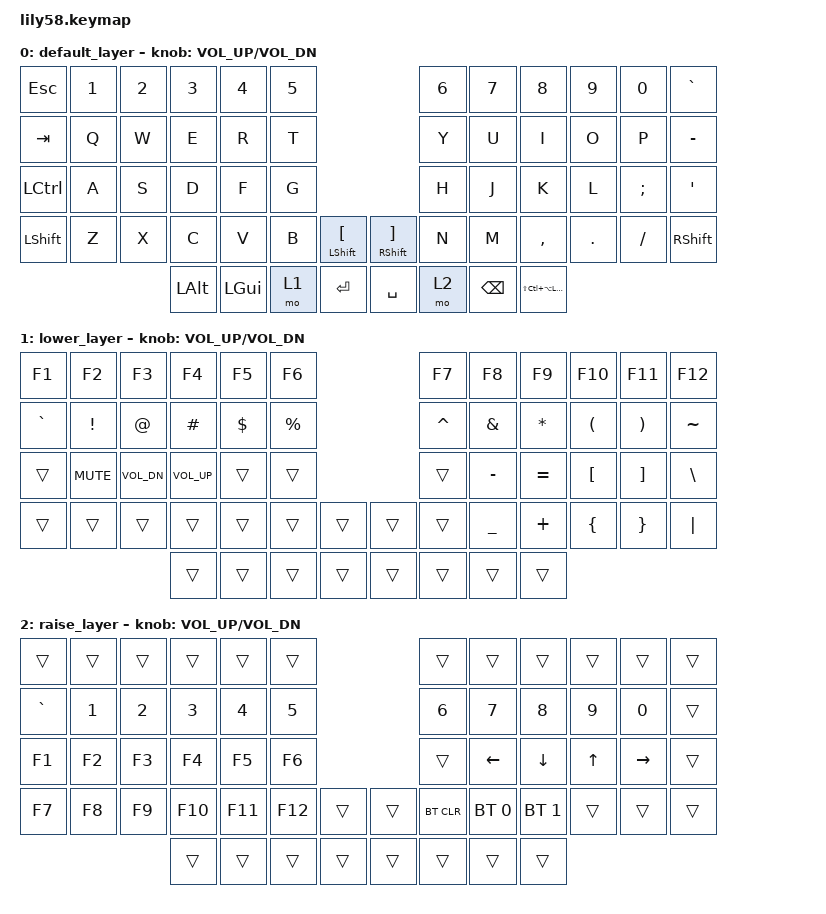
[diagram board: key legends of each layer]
/*
 * Copyright (c) 2020 The ZMK Contributors
 *
 * SPDX-License-Identifier: MIT
 */

#include <behaviors.dtsi>
#include <dt-bindings/zmk/keys.h>
#include <dt-bindings/zmk/bt.h>
#include <dt-bindings/zmk/ext_power.h>

/ {
    keymap {
        compatible = "zmk,keymap";

        default_layer {
// ------------------------------------------------------------------------------------------------------------
// |  ESC  |  1  |  2  |  3   |  4   |  5   |                   |  6   |  7    |  8    |  9   |   0   |   `   |
// |  TAB  |  Q  |  W  |  E   |  R   |  T   |                   |  Y   |  U    |  I    |  O   |   P   |   -   |
// | CTRL  |  A  |  S  |  D   |  F   |  G   |                   |  H   |  J    |  K    |  L   |   ;   |  '    |
// | SHIFT |  Z  |  X  |  C   |  V   |  B   |   "["  |  |  "]"  |  N   |  M    |  ,    |  .   |   /   | SHIFT |
//                     | ALT  | LGUI |LOWER |  ENTER |  | SPACE | RAISE| BSPC  | META  |
            bindings = <
&kp ESC   &kp N1 &kp N2 &kp N3   &kp N4   &kp N5                     &kp N6 &kp N7   &kp N8    &kp N9  &kp N0   &kp GRAVE
&kp TAB   &kp Q  &kp W  &kp E    &kp R    &kp T                      &kp Y  &kp U    &kp I     &kp O   &kp P    &kp MINUS
&kp LCTRL &kp A  &kp S  &kp D    &kp F    &kp G                      &kp H  &kp J    &kp K     &kp L   &kp SEMI &kp SQT
&kp LSHIFT &kp Z  &kp X  &kp C    &kp V    &kp B &mt LSHFT LBKT &mt RSHIFT RBKT &kp N  &kp M    &kp COMMA &kp DOT &kp FSLH &kp RSHFT
                        &kp LALT &kp LGUI &mo 1  &kp RET  &kp SPACE  &mo 2  &kp BSPC &kp LS(LC(LA(LGUI)))
            >;

            sensor-bindings = <&inc_dec_kp C_VOL_UP C_VOL_DN>;
        };

        lower_layer {
// ------------------------------------------------------------------------------------------------------------
// |  F1   |  F2 |  F3 |  F4  |  F5  |  F6  |                   |  F7  |  F8   |  F9   |  F10 |  F11  |  F12  |
// |   `   |  !  |  @  |  #   |  $   |  %   |                   |  ^   |  &    |  *    |  (   |   )   |   ~   |
// |       |  V0 |  V- |  V+  |      |      |                   |      |  -    |  =    |  [   |   ]   |   \   |
// |       |     |     |      |      |      |        |  |       |      |  _    |  +    |  {   |   }   |  "|"  |
//                     |      |      |      |        |  |       |      |       |       |
            bindings = <
&kp F1     &kp F2           &kp F3            &kp F4            &kp F5       &kp F6                       &kp F7    &kp F8    &kp F9    &kp F10   &kp F11   &kp F12
&kp GRAVE  &kp EXCL         &kp AT            &kp HASH          &kp DOLLAR   &kp PRCNT                    &kp CARET &kp AMPS  &kp ASTRK &kp LPAR  &kp RPAR  &kp TILDE
&trans     &kp C_MUTE       &kp C_VOL_DN      &kp C_VOL_UP      &trans       &trans                       &trans    &kp MINUS &kp EQUAL &kp LBKT  &kp RBKT  &kp BSLH
&trans     &trans           &trans            &trans            &trans       &trans    &trans   &trans    &trans    &kp UNDER &kp PLUS  &kp LBRC  &kp RBRC  &kp PIPE
                                              &trans            &trans       &trans    &trans   &trans    &trans    &trans    &trans
            >;

            sensor-bindings = <&inc_dec_kp C_VOL_UP C_VOL_DN>;
        };

        raise_layer {
// ------------------------------------------------------------------------------------------------------------
// |       |     |     |      |      |      |                   |      |       |       |      |       |       |
// |   `   |  1  |  2  |  3   |  4   |  5   |                   |  6   |   7   |   8   |  9   |   0   |       |
// |   F1  |  F2 |  F3 |  F4  |  F5  |  F6  |                   |      |   <-  |   v   |  ^   |  ->   |       |
// |   F7  |  F8 |  F9 |  F10 |  F11 |  F12 |        |  |       | BTCLR| BT1   |  BT2  |      |       |       |
//                     |      |      |      |        |  |       |      |       |       |
            bindings = <
&trans    &trans &trans &trans  &trans  &trans                       &trans      &trans    &trans    &trans   &trans    &trans
&kp GRAVE &kp N1 &kp N2 &kp N3  &kp N4  &kp N5                       &kp N6      &kp N7    &kp N8    &kp N9   &kp N0    &trans
&kp F1    &kp F2 &kp F3 &kp F4  &kp F5  &kp F6                       &trans      &kp LEFT  &kp DOWN  &kp UP   &kp RIGHT &trans
&kp F7    &kp F8 &kp F9 &kp F10 &kp F11 &kp F12   &trans   &trans    &bt BT_CLR &bt BT_SEL 0 &bt BT_SEL 1 &trans &trans &trans
                        &trans  &trans  &trans    &trans   &trans    &trans      &trans    &trans
            >;

            sensor-bindings = <&inc_dec_kp C_VOL_UP C_VOL_DN>;
        };
    };
};

// vim: ft=c
